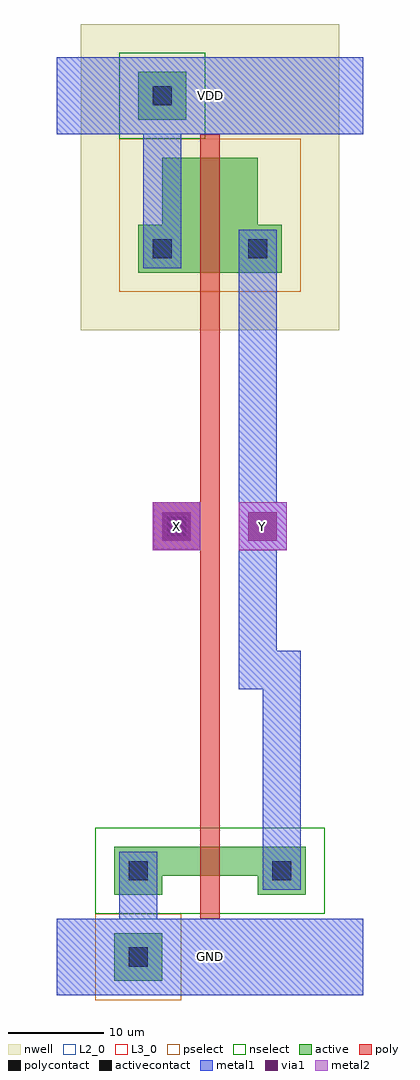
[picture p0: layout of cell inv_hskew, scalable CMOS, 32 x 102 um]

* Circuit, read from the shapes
.subckt inv_hskew GND VDD X Y
M1 Y X GND GND nfet w=3u l=2u
M2 Y X VDD VDD pfet w=12u l=2u
.ends

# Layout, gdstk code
import gdstk
lib = gdstk.Library(unit=1e-6, precision=1e-09)
def R(c, l, rs):  # rectangles x0, y0, x1, y1
    for r in rs: c.add(gdstk.rectangle(r[:2], r[2:], *l))
def P(c, l, *ps):  # polygons
    for p in ps: c.add(gdstk.Polygon(p, *l))
L2_0 = (2, 0)
L3_0 = (3, 0)
nwell = (42, 0)
active = (43, 0)
pselect = (44, 0)
nselect = (45, 0)
poly = (46, 0)
polycontact = (47, 0)
activecontact = (48, 0)
metal1 = (49, 0)
via1 = (50, 0)
metal2 = (51, 0)

inv_hskew = lib.new_cell('inv_hskew')
R(inv_hskew, L2_0, [(-11,-94.5,21,-86.5), (-11,-4.5,21,3.5)])
R(inv_hskew, L3_0, [(-1,-48,4,-43), (8,-48,13,-43)])
R(inv_hskew, nwell, [(-8.5,-25,18.5,7)])
R(inv_hskew, active, [(-5,-93,0,-88), (-2.5,-3,2.5,2)])
P(inv_hskew, active, [(-5,-84),(0,-84),(0,-82),(10,-82),(10,-84),(15,-84),(15,-79),(-5,-79)],
  [(-2.5,-19),(12.5,-19),(12.5,-14),(10,-14),(10,-7),(0,-7),(0,-14),(-2.5,-14)])
R(inv_hskew, pselect, [(-7,-95,2,-86), (-4.5,-21,14.5,-5)])
R(inv_hskew, nselect, [(-7,-86,17,-77), (-4.5,-5,4.5,4)])
R(inv_hskew, poly, [(4,-86.5,6,-78), (-1,-48,4,-43), (4,-13,6,-4.5)])
R(inv_hskew, polycontact, [(0.5,-46.5,2.5,-44.5)])
R(inv_hskew, activecontact, [(-3.5,-91.5,-1.5,-89.5), (-3.5,-82.5,-1.5,-80.5), (11.5,-82.5,13.5,-80.5), (-1,-17.5,1,-15.5), (9,-17.5,11,-15.5), (-1,-1.5,1,0.5)])
R(inv_hskew, metal1, [(-11,-94.5,21,-86.5), (-4.5,-92.5,-0.5,-88.5), (-4.5,-83.5,-0.5,-79.5), (10.5,-83.5,14.5,-79.5), (-1,-48,4,-43), (8,-48,13,-43), (-2,-18.5,2,-14.5), (8,-18.5,12,-14.5), (-11,-4.5,21,3.5), (-2,-2.5,2,1.5)])
R(inv_hskew, via1, [(0,-47,3,-44), (9,-47,12,-44)])
R(inv_hskew, metal2, [(-1,-48,4,-43), (8,-48,13,-43)])
inv_hskew.add(gdstk.FlexPath([(5,-13),(5,-78)], 2, ends="flush", simple_path=True, layer=46, datatype=0))  # poly
inv_hskew.add(gdstk.FlexPath([(10,-48),(10,-60.5),(12.5,-60.5),(12.5,-79.5)], 4, ends="flush", simple_path=True, layer=49, datatype=0))  # metal1
inv_hskew.add(gdstk.FlexPath([(-2.5,-83.5),(-2.5,-88.5)], 4, ends="flush", simple_path=True, layer=49, datatype=0))  # metal1
inv_hskew.add(gdstk.FlexPath([(0,-14.5),(0,-2.5)], 4, ends="flush", simple_path=True, layer=49, datatype=0))  # metal1
inv_hskew.add(gdstk.FlexPath([(10,-18.5),(10,-43)], 4, ends="flush", simple_path=True, layer=49, datatype=0))  # metal1
inv_hskew.add(gdstk.Label('VDD', (5,-0.5), layer=2, texttype=0))
inv_hskew.add(gdstk.Label('GND', (5,-90.5), layer=2, texttype=0))
inv_hskew.add(gdstk.Label('X', (1.5,-45.5), layer=3, texttype=0))
inv_hskew.add(gdstk.Label('Y', (10.5,-45.5), layer=3, texttype=0))

lib.write_gds('inv_hskew.gds')
